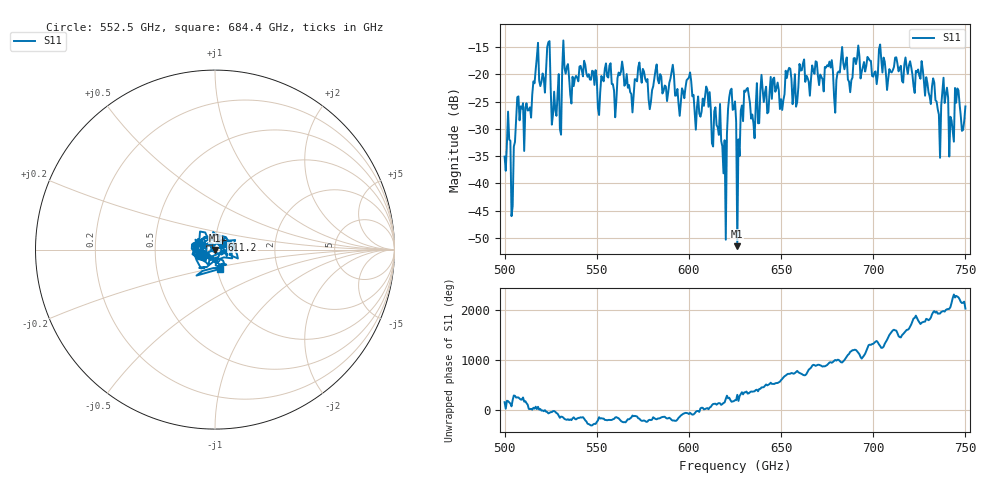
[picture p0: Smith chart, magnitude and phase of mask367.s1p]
!Created with skrf (http://scikit-rf.org).
# GHz S MA R 50.0
!freq magS11 angS11
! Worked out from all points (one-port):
!   401 points, 500 GHz to 750 GHz, reference 50 ohm
!   lowest |S11| = -51.5 dB at 626.2 GHz (marker M1), VSWR 1.01, Z = 50.2 - j0.211 ohm
!   |S11| at or under -10 dB: start of sweep to end of sweep
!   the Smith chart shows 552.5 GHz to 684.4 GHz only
!   S11 on the Smith chart (normalised r, x): 552.5 GHz: 0.83, -0.05; 611.2 GHz: 1.08, +0.12; 684.4 GHz: 1.03, -0.22
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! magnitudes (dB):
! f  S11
! 500 GHz  -35.1
! 504.4 GHz  -44.1
! 507.5 GHz  -24.1
! 511.9 GHz  -25.3
! 516.9 GHz  -19.1
! 523.8 GHz  -14.1
! 526.9 GHz  -23.2
! 531.2 GHz  -19.0
! 533.1 GHz  -19.9
! 552.5 GHz  -20.3
! 562.5 GHz  -20.2
! 593.8 GHz  -22.7
! 611.2 GHz  -23.3
! 618.8 GHz  -38.1
! 622.5 GHz  -23.0
! 625 GHz  -25.0
! 626.2 GHz  -51.5
! 631.2 GHz  -22.7
! 635 GHz  -29.0
! 656.2 GHz  -25.5
! 684.4 GHz  -19.1
! 687.5 GHz  -23.3
! 718.8 GHz  -19.9
! 735.6 GHz  -27.4
! 739.4 GHz  -23.7
! 742.5 GHz  -28.5
! 745.6 GHz  -22.6
! 750 GHz  -25.9
